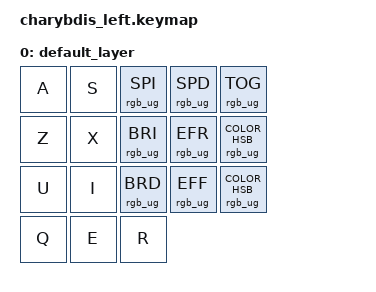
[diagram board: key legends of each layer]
#include <behaviors.dtsi>
#include <dt-bindings/zmk/keys.h>
#include <dt-bindings/zmk/rgb.h>

/ {
    keymap {
        compatible = "zmk,keymap";

        default_layer { // Layer 0
            bindings = <
                &kp A  &kp S  &rgb_ug RGB_SPI  &rgb_ug RGB_SPD  &rgb_ug RGB_TOG
                &kp Z  &kp X  &rgb_ug RGB_BRI  &rgb_ug RGB_EFR  &rgb_ug RGB_COLOR_HSB(0,100,100)
                &kp U  &kp I  &rgb_ug RGB_BRD  &rgb_ug RGB_EFF  &rgb_ug RGB_COLOR_HSB(128,100,100)
                &kp Q  &kp E  &kp R
            >;
        };
    };
 };
